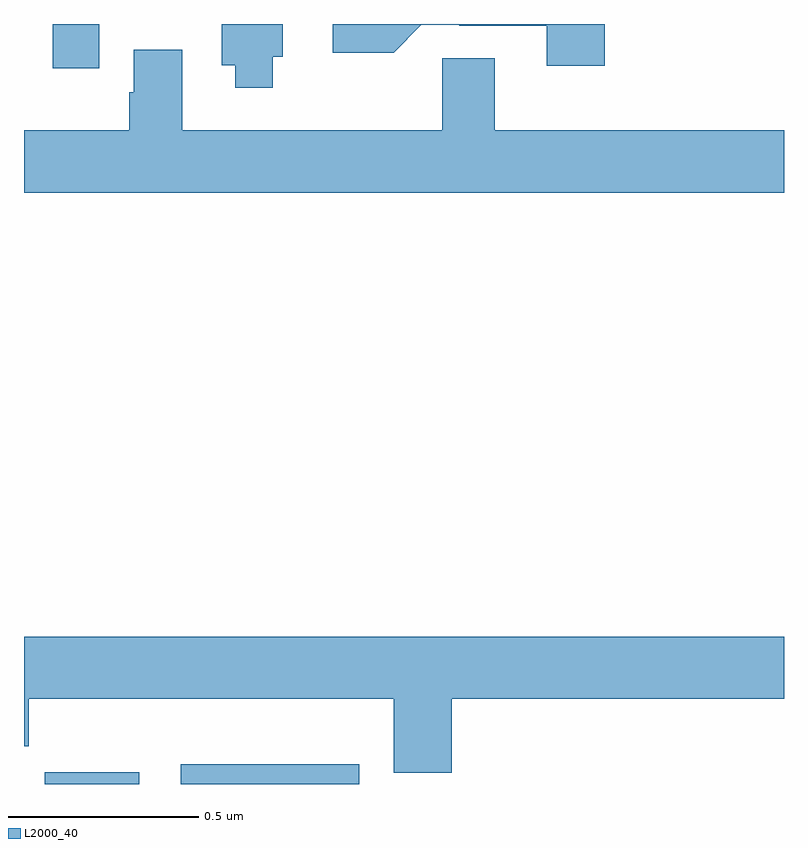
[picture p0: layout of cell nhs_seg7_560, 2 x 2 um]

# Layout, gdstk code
import gdstk
lib = gdstk.Library(unit=1e-6, precision=1e-09)
def R(c, l, rs):  # rectangles x0, y0, x1, y1
    for r in rs: c.add(gdstk.rectangle(r[:2], r[2:], *l))
def P(c, l, *ps):  # polygons
    for p in ps: c.add(gdstk.Polygon(p, *l))
L2000_40 = (2000, 40)

nhs_seg7_560 = lib.new_cell('nhs_seg7_560')
R(nhs_seg7_560, L2000_40, [(118.054,1059,118.303,1059.031), (118.413,1059,118.882,1059.052), (118.076,1060.884,118.198,1061)])
P(nhs_seg7_560, L2000_40, [(118.654,1060.914),(118.681,1060.914),(118.681,1061),(118.52,1061),(118.52,1060.892),(118.556,1060.892),(118.556,1060.832),(118.654,1060.832)],
  [(119.528,1061),(118.812,1061),(118.812,1060.925),(118.973,1060.925),(119.046,1060.998),(119.146,1060.998),(119.146,1060.995),(119.375,1060.995),(119.375,1060.89),(119.528,1060.89)],
  [(120,1060.72),(119.239,1060.72),(119.239,1060.91),(119.1,1060.91),(119.1,1060.72),(118.417,1060.72),(118.417,1060.932),(118.289,1060.932),(118.289,1060.821),(118.277,1060.821),(118.277,1060.72),(118,1060.72),(118,1060.556),(120,1060.556)],
  [(119.126,1059.224),(120,1059.224),(120,1059.388),(118,1059.388),(118,1059.1),(118.013,1059.1),(118.013,1059.224),(118.973,1059.224),(118.973,1059.03),(119.126,1059.03)])

lib.write_gds('nhs_seg7_560.gds')
